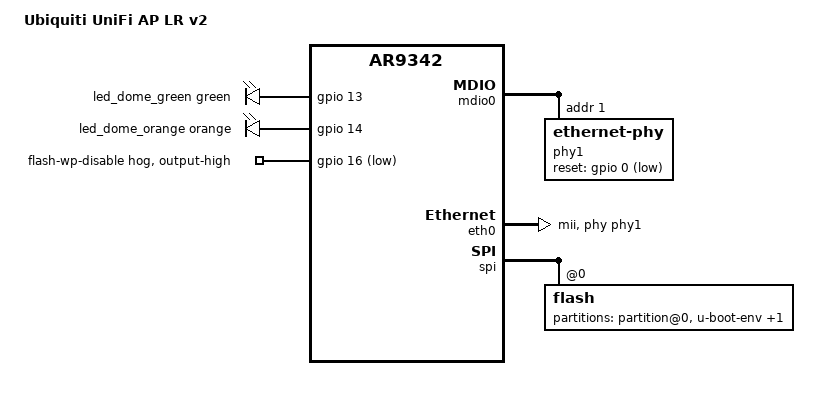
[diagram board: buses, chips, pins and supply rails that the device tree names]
// SPDX-License-Identifier: GPL-2.0-or-later OR MIT

#include "ar9342_ubnt_xw.dtsi"
#include <dt-bindings/leds/common.h>

/ {
	compatible = "ubnt,unifi-ap-lr-v2", "ubnt,xw", "qca,ar9342";
	model = "Ubiquiti UniFi AP LR v2";

	aliases {
		led-boot = &led_dome_green;
		led-failsafe = &led_dome_orange;
		led-running = &led_dome_green;
		led-upgrade = &led_dome_orange;
		label-mac-device = &eth0;
	};

	leds {
		compatible = "gpio-leds";

		led_dome_green: dome-green {
			color = <LED_COLOR_ID_GREEN>;
			function = "dome";
			gpios = <&gpio 13 GPIO_ACTIVE_HIGH>;
		};

		led_dome_orange: dome-orange {
			color = <LED_COLOR_ID_ORANGE>;
			function = "dome";
			gpios = <&gpio 14 GPIO_ACTIVE_HIGH>;
		};
	};
};

&gpio {
	status = "okay";

	flash-wp-hog {
		gpio-hog;
		gpios = <16 GPIO_ACTIVE_LOW>;
		output-high;
		line-name = "flash-wp-disable";
	};
};

&mdio0 {
	status = "okay";

	phy1: ethernet-phy@1 {
		reg = <1>;
		reset-gpios = <&gpio 0 GPIO_ACTIVE_LOW>;
	};
};

&eth0 {
	status = "okay";

	phy-mode = "mii";
	phy-handle = <&phy1>;
};

&spi {
	status = "okay";

	flash@0 {
		partitions {
			/delete-node/ partition@40000;
			/delete-node/ partition@50000;

			partition@0 {
				reg = <0x000000 0x060000>;
			};

			partition@60000 {
				label = "u-boot-env";
				reg = <0x060000 0x010000>;
				read-only;
			};

			partition@70000 {
				compatible = "denx,uimage";
				label = "firmware";
				reg = <0x070000 0x740000>;
			};
		};
	};
};
